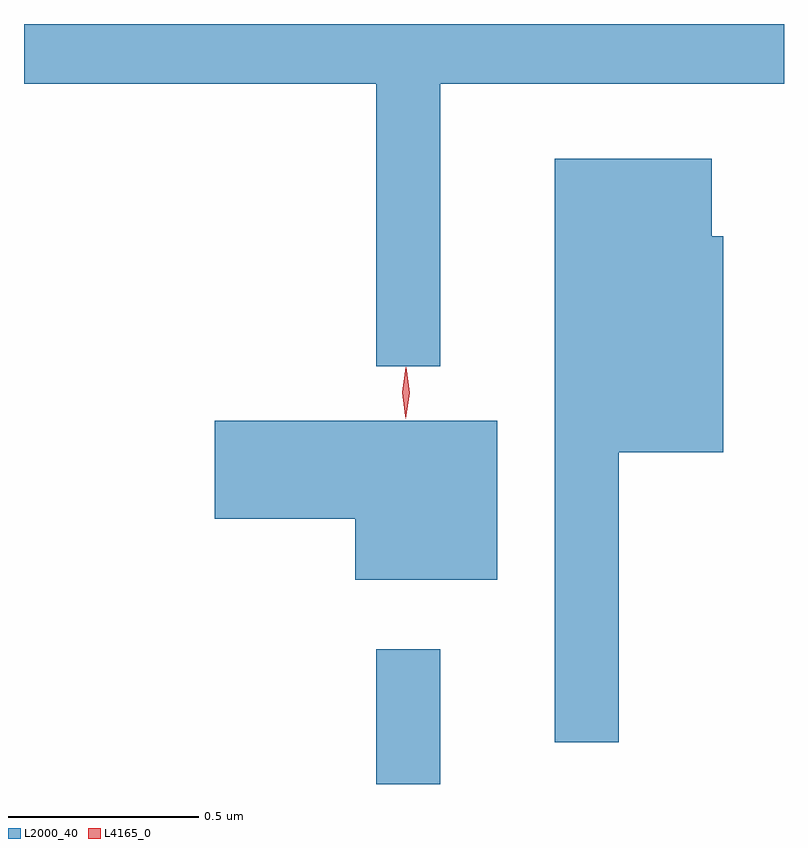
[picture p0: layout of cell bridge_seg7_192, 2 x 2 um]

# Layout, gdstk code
import gdstk
lib = gdstk.Library(unit=1e-6, precision=1e-09)
def R(c, l, rs):  # rectangles x0, y0, x1, y1
    for r in rs: c.add(gdstk.rectangle(r[:2], r[2:], *l))
def P(c, l, *ps):  # polygons
    for p in ps: c.add(gdstk.Polygon(p, *l))
L2000_40 = (2000, 40)
L4165_0 = (4165, 0)

bridge_seg7_192 = lib.new_cell('bridge_seg7_192')
R(bridge_seg7_192, L2000_40, [(1562.521,1690.273,1562.689,1690.628)])
P(bridge_seg7_192, L2000_40, [(1562.689,1692.116),(1563.594,1692.116),(1563.594,1692.273),(1561.594,1692.273),(1561.594,1692.116),(1562.521,1692.116),(1562.521,1691.373),(1562.689,1691.373)],
  [(1563.159,1691.146),(1563.434,1691.146),(1563.434,1691.714),(1563.404,1691.714),(1563.404,1691.919),(1562.991,1691.919),(1562.991,1690.383),(1563.159,1690.383)],
  [(1562.839,1691.229),(1562.096,1691.229),(1562.096,1690.971),(1562.466,1690.971),(1562.466,1690.811),(1562.839,1690.811)])
P(bridge_seg7_192, L4165_0, [(1562.598,1691.24),(1562.597,1691.241),(1562.589,1691.304),(1562.599,1691.366),(1562.6,1691.367),(1562.6,1691.366),(1562.609,1691.303),(1562.598,1691.241)],
  [(1562.598,1691.234),(1562.598,1691.234),(1562.589,1691.302),(1562.599,1691.37),(1562.6,1691.37),(1562.6,1691.37),(1562.609,1691.302),(1562.599,1691.234)])

lib.write_gds('bridge_seg7_192.gds')
